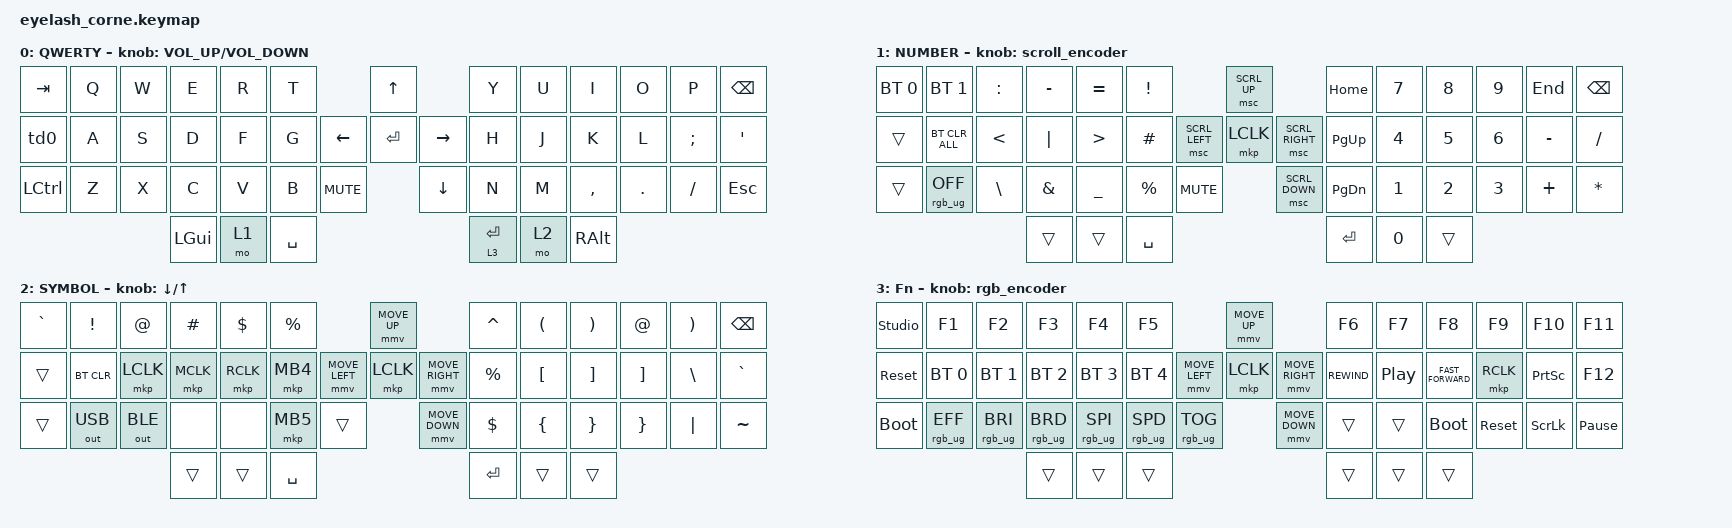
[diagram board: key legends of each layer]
#include <dt-bindings/zmk/mouse.h>
#include <input/processors.dtsi>
#include <behaviors.dtsi>
#include <dt-bindings/zmk/bt.h>
#include <dt-bindings/zmk/keys.h>
#include <dt-bindings/zmk/outputs.h>
#include <dt-bindings/zmk/pointing.h>
#include <dt-bindings/zmk/pointing.h>
#include <dt-bindings/zmk/pointing.h>
#include <dt-bindings/zmk/rgb.h>

/*

   &mmv_input_listener {
       input-processors = <&zip_xy_scaler 2 1>;
   };

   &msc_input_listener {
       input-processors = <&zip_xy_scaler 2 1>;
   };

 */

#define ZMK_MOUSE_DEFAULT_MOVE_VAL 1200  // 600
#define ZMK_MOUSE_DEFAULT_SCRL_VAL 20    // 10

/ {
    behaviors {
        td0: td0 {
            compatible = "zmk,behavior-tap-dance";
            display-name = "Shift/Caps Lock Tap Dance";
            #binding-cells = <0>;
            bindings = <&kp LEFT_SHIFT>, <&kp CAPS>;
        };
    };

    rgb_encoder: rgb_encoder {
        compatible = "zmk,behavior-sensor-rotate";
        #sensor-binding-cells = <0>;
        bindings = <&rgb_ug RGB_BRI>, <&rgb_ug RGB_BRD>;
    };

    scroll_encoder: scroll_encoder {
        compatible = "zmk,behavior-sensor-rotate";
        #sensor-binding-cells = <0>;
        bindings = <&msc SCRL_DOWN>, <&msc SCRL_UP>;

        tap-ms = <30>;
    };

    keymap {
        compatible = "zmk,keymap";

        default_layer {
            display-name = "QWERTY";
            bindings = <
&kp TAB    &kp Q  &kp W  &kp E     &kp R  &kp T                              &kp UP                &kp Y        &kp U  &kp I      &kp O    &kp P     &kp BSPC
&td0       &kp A  &kp S  &kp D     &kp F  &kp G                    &kp LEFT  &kp ENTER  &kp RIGHT  &kp H        &kp J  &kp K      &kp L    &kp SEMI  &kp SQT
&kp LCTRL  &kp Z  &kp X  &kp C     &kp V  &kp B      &kp C_MUTE              &kp DOWN              &kp N        &kp M  &kp COMMA  &kp DOT  &kp FSLH  &kp ESC
                         &kp LGUI  &mo 1  &kp SPACE                                                &lt 3 ENTER  &mo 2  &kp RALT
            >;

            sensor-bindings = <&inc_dec_kp C_VOLUME_UP C_VOLUME_DOWN>;
        };

        lower_layer {
            display-name = "NUMBER";
            bindings = <
&bt BT_SEL 0  &bt BT_SEL 1     &kp COLON      &kp MINUS      &kp EQUAL         &kp EXCLAMATION                                &msc SCRL_UP                     &kp HOME       &kp N7        &kp N8        &kp N9        &kp END    &kp BSPC
&trans        &bt BT_CLR_ALL   &kp LESS_THAN  &kp PIPE       &kp GREATER_THAN  &kp HASH                       &msc SCRL_LEFT  &mkp LCLK       &msc SCRL_RIGHT  &kp PAGE_UP    &kp NUMBER_4  &kp N5        &kp NUMBER_6  &kp MINUS  &kp SLASH
&trans        &rgb_ug RGB_OFF  &kp BACKSLASH  &kp AMPERSAND  &kp UNDERSCORE    &kp PERCENT      &kp C_MUTE                    &msc SCRL_DOWN                   &kp PAGE_DOWN  &kp NUMBER_1  &kp NUMBER_2  &kp NUMBER_3  &kp PLUS   &kp ASTERISK
                                              &trans         &trans            &kp SPACE                                                                       &kp ENTER      &kp N0        &trans
            >;

            sensor-bindings = <&scroll_encoder>;
        };

        raise_layer {
            display-name = "SYMBOL";
            bindings = <
&kp GRAVE  &kp EXCL      &kp AT        &kp HASH   &kp DLLR   &kp PRCNT                            &mmv MOVE_UP                     &kp CARET    &kp LEFT_PARENTHESIS  &kp RIGHT_PARENTHESIS  &kp AT_SIGN  &kp RPAR  &kp BSPC
&trans     &bt BT_CLR    &mkp LCLK     &mkp MCLK  &mkp RCLK  &mkp MB4             &mmv MOVE_LEFT  &mkp LCLK       &mmv MOVE_RIGHT  &kp PERCENT  &kp LEFT_BRACKET      &kp RIGHT_BRACKET      &kp RBKT     &kp BSLH  &kp GRAVE
&trans     &out OUT_USB  &out OUT_BLE  &none      &none      &mkp MB5   &trans                    &mmv MOVE_DOWN                   &kp DOLLAR   &kp LEFT_BRACE        &kp RIGHT_BRACE        &kp RBRC     &kp PIPE  &kp TILDE
                                       &trans     &trans     &kp SPACE                                                             &kp RET      &trans                &trans
            >;

            sensor-bindings = <&inc_dec_kp DOWN UP_ARROW>;
        };

        layer_3 {
            display-name = "Fn";
            bindings = <
&studio_unlock  &kp F1           &kp F2           &kp F3           &kp F4           &kp F5                                              &mmv MOVE_UP                     &kp F6        &kp F7            &kp F8              &kp F9      &kp F10          &kp F11
&sys_reset      &bt BT_SEL 0     &bt BT_SEL 1     &bt BT_SEL 2     &bt BT_SEL 3     &bt BT_SEL 4                        &mmv MOVE_LEFT  &mkp LCLK       &mmv MOVE_RIGHT  &kp C_REWIND  &kp C_PLAY_PAUSE  &kp C_FAST_FORWARD  &mkp RCLK   &kp PRINTSCREEN  &kp F12
&bootloader     &rgb_ug RGB_EFF  &rgb_ug RGB_BRI  &rgb_ug RGB_BRD  &rgb_ug RGB_SPI  &rgb_ug RGB_SPD  &rgb_ug RGB_TOG                    &mmv MOVE_DOWN                   &trans        &trans            &bootloader         &sys_reset  &kp SCROLLLOCK   &kp PAUSE_BREAK
                                                  &trans           &trans           &trans                                                                               &trans        &trans            &trans
            >;

            sensor-bindings = <&rgb_encoder>;
        };
    };
};
